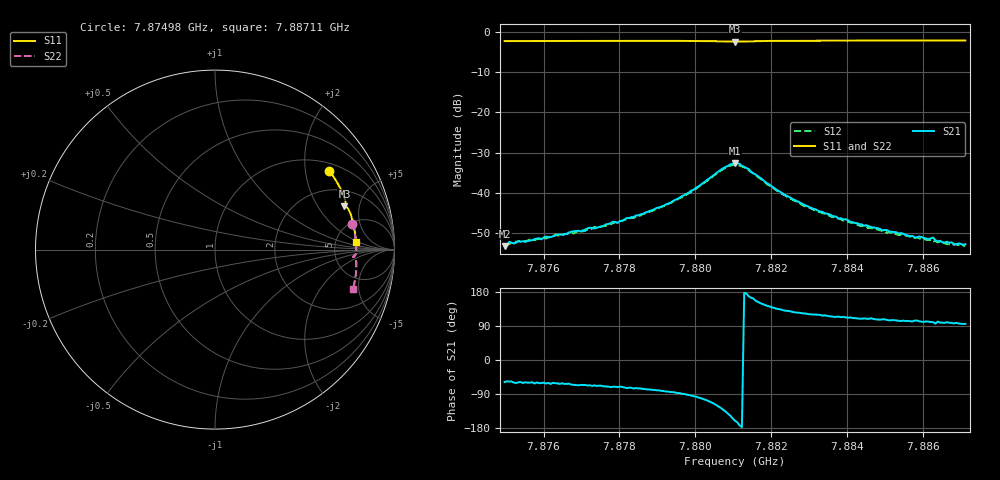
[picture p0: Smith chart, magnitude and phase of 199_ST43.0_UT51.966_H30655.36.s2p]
#  HZ  S  DB  R  50.00
! Rohde & Schwarz Vector Network Analyzer
! Rohde-Schwarz,ZNB20-2Port,1311601062101988,3.16
! Created: UTC 1/12/2023, 6:44:11 PM
! freq[Hz]  db:S11  ang:S11  db:S21  ang:S21  db:S12  ang:S12  db:S22  ang:S22
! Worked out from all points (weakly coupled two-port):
!   201 points, 7.87498 GHz to 7.88711 GHz, reference 50 ohm
!   highest |S21| = -32.61 dB at 7.88104 GHz (marker M1); lowest = -53.3 dB at 7.87498 GHz (marker M2)
!   lowest |S11| = -2.4 dB at 7.88104 GHz (marker M3), VSWR 7.35, Z = 155 + j177 ohm
!   |S11| at or under -10 dB: nowhere
!   |S22| runs from -2.3 to -1.9 dB; largest |S21 - S12| = 0.002
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7.874976e9  -2.24 34.6  -53.26 -58.2  -52.86 -60.0  -2.18 10.7
7.875097e9  -2.23 34.2  -52.21 -56.8  -52.66 -61.3  -2.17 10.4
7.875218e9  -2.23 33.9  -52.62 -59.6  -52.68 -60.7  -2.17 10.1
7.875946e9  -2.22 31.9  -51.59 -60.9  -51.40 -64.3  -2.14 8.4
7.877038e9  -2.20 28.9  -49.31 -65.9  -49.63 -68.0  -2.11 5.9
7.877826e9  -2.19 26.8  -47.20 -70.5  -47.63 -74.6  -2.10 3.9
7.877948e9  -2.19 26.4  -47.52 -71.4  -47.11 -74.8  -2.09 3.7
7.878372e9  -2.19 25.3  -46.04 -75.3  -46.29 -78.0  -2.08 2.7
7.879039e9  -2.18 23.4  -43.67 -80.1  -43.73 -84.0  -2.08 1.1
7.879828e9  -2.20 21.1  -39.95 -92.5  -40.13 -95.6  -2.09 -0.8
7.880677e9  -2.32 18.8  -34.22 -127.2  -34.44 -130.8  -2.20 -2.9
7.881041e9  -2.38 18.5  -32.61 -160.4  -33.05 -162.7  -2.27 -3.0
7.881344e9  -2.33 18.4  -33.85 175.1  -34.00 169.5  -2.22 -2.9
7.882254e9  -2.17 16.0  -39.89 133.0  -40.15 129.8  -2.05 -4.9
7.883103e9  -2.13 13.6  -44.02 120.1  -44.21 116.7  -2.01 -6.9
7.884316e9  -2.11 10.3  -47.81 108.9  -48.19 106.9  -1.97 -9.7
7.885105e9  -2.10 8.3  -49.67 104.5  -49.68 102.9  -1.96 -11.4
7.885772e9  -2.09 6.5  -51.13 104.0  -51.30 98.3  -1.95 -12.9
7.886257e9  -2.09 5.2  -51.15 99.9  -52.16 96.2  -1.96 -14.0
7.886378e9  -2.09 4.9  -52.06 101.5  -52.38 96.5  -1.94 -14.2
7.886864e9  -2.08 3.7  -52.90 98.0  -52.81 94.7  -1.94 -15.2
7.887106e9  -2.08 3.0  -52.79 95.3  -53.29 93.2  -1.94 -15.8
